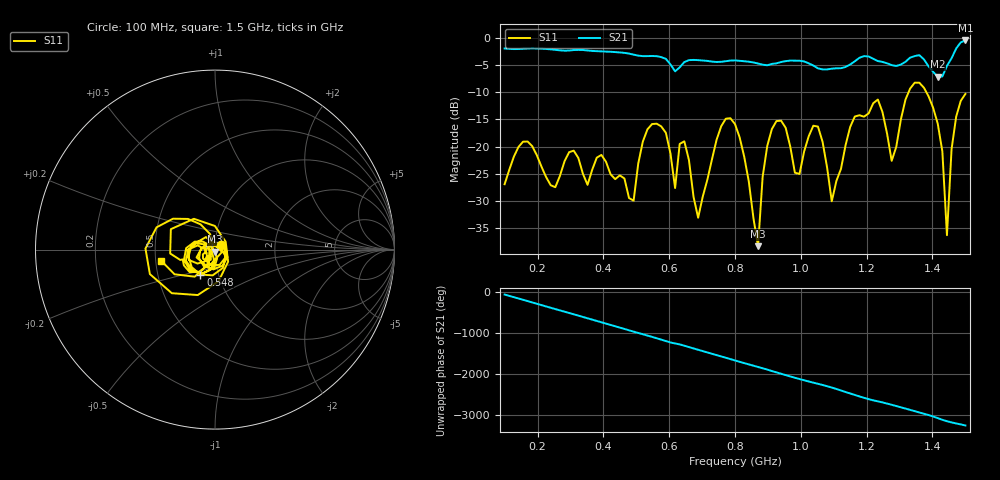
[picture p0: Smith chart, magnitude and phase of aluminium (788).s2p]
! NanoVNA-App
! Date: 2025-09-25 15:01:25
! Start: 100MHz Stop: 1,5GHz Points: 101
! S-Parameter data: F S11 S21 S12 S22
# Hz S RI R 50
!  Frequency  S11_Real  S11_Imag  S21_Real  S21_Imag  S12_Real  S12_Imag  S22_Real  S22_Imag
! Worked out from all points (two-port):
!   101 points, 100 MHz to 1.5 GHz, reference 50 ohm
!   highest |S21| = -0.44 dB at 1.5 GHz (marker M1); lowest = -7.1 dB at 1.416 GHz (marker M2)
!   |S21| within 3 dB of the highest: start of sweep to 570.3 MHz; 1.46 GHz to end of sweep (the widest 2 of 4)
!   lowest |S11| = -38.4 dB at 870 MHz (marker M3), VSWR 1.02, Z = 50.1 - j1.2 ohm
!   |S11| at or under -10 dB: start of sweep to 1.327 GHz; 1.381 GHz to end of sweep
!   S12 and S22 are empty: the file has one direction only
!   S11 on the Smith chart (normalised r, x): 100 MHz: 1.07, +0.06; 548 MHz: 0.82, -0.23; 1.5 GHz: 0.54, -0.07
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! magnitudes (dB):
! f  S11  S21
! 100 MHz  -27.0  -1.9
! 156 MHz  -19.1  -2.0
! 338 MHz  -25.0  -2.2
! 492 MHz  -30.0  -3.1
! 548 MHz  -15.9  -3.3
! 576 MHz  -16.3  -3.5
! 618 MHz  -27.7  -6.1
! 646 MHz  -19.0  -4.4
! 688 MHz  -33.1  -4.1
! 800 MHz  -15.9  -4.1
! 870 MHz  -38.4  -4.7
! 912 MHz  -16.8  -4.8
! 996 MHz  -25.1  -4.2
! 1.038 GHz  -16.2  -5.1
! 1.094 GHz  -30.1  -5.6
! 1.234 GHz  -11.3  -4.2
! 1.276 GHz  -22.6  -5.0
! 1.346 GHz  -8.2  -3.3
! 1.416 GHz  -15.8  -7.1
! 1.444 GHz  -36.4  -5.1
! 1.458 GHz  -20.5  -3.7
! 1.5 GHz  -10.3  -0.4
